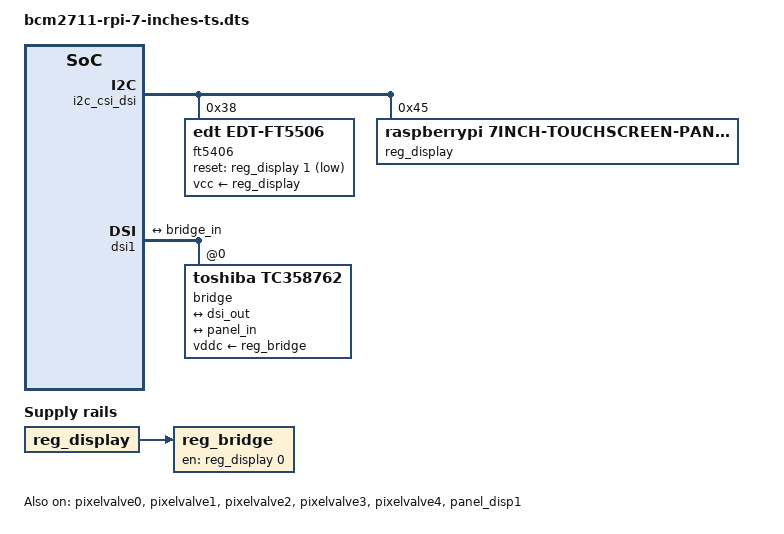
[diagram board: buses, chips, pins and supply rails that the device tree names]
// SPDX-License-Identifier: GPL-2.0

/dts-v1/;
/plugin/;

&{/} {
	#address-cells = <2>;
	#size-cells = <1>;

	panel_disp1: panel@0 {
		reg = <0 0 0>;
		compatible = "raspberrypi,7inch-dsi", "simple-panel";
		backlight = <&reg_display>;
		power-supply = <&reg_display>;
		status = "okay";

		port {
			panel_in: endpoint {
				remote-endpoint = <&bridge_out>;
			};
		};
	};

	reg_bridge: regulator@0 {
		reg = <0 0 0>;
		compatible = "regulator-fixed";
		regulator-name = "bridge_reg";
		gpio = <&reg_display 0 0>;
		vin-supply = <&reg_display>;
		enable-active-high;
		status = "okay";
	};
};

&i2c_csi_dsi {
	#address-cells = <1>;
	#size-cells = <0>;

	ft5406: touchscreen@38 {
		compatible = "edt,edt-ft5506";
		reg = <0x38>;
		status = "okay";

		vcc-supply = <&reg_display>;
		reset-gpio = <&reg_display 1 1>;

		touchscreen-size-x = < 800 >;
		touchscreen-size-y = < 480 >;

		touchscreen-inverted-x;
		touchscreen-inverted-y;
	};

	reg_display: regulator@45 {
		compatible = "raspberrypi,7inch-touchscreen-panel-regulator";
		reg = <0x45>;
		status = "okay";

		gpio-controller;
		#gpio-cells = <2>;
	};

};

&dsi1 {
	#address-cells = <1>;
	#size-cells = <0>;

	status = "okay";

	port {
		dsi_out: endpoint {
			remote-endpoint = <&bridge_in>;
		};
	};

	bridge@0 {
		#address-cells = <1>;
		#size-cells = <0>;

		reg = <0>;
		compatible = "toshiba,tc358762";

		vddc-supply = <&reg_bridge>;

		ports {
			#address-cells = <1>;
			#size-cells = <0>;

			port@0 {
				reg = <0>;
				bridge_in: endpoint {
					remote-endpoint = <&dsi_out>;
				};
			};

			port@1 {
				reg = <1>;
				bridge_out: endpoint {
					remote-endpoint = <&panel_in>;
				};
			};
		};
	};
};

&pixelvalve0 {
	status = "okay";
};

&pixelvalve1 {
	status = "okay";
};

&pixelvalve2 {
	status = "okay";
};

&pixelvalve3 {
	status = "okay";
};

&pixelvalve4 {
	status = "okay";
};
